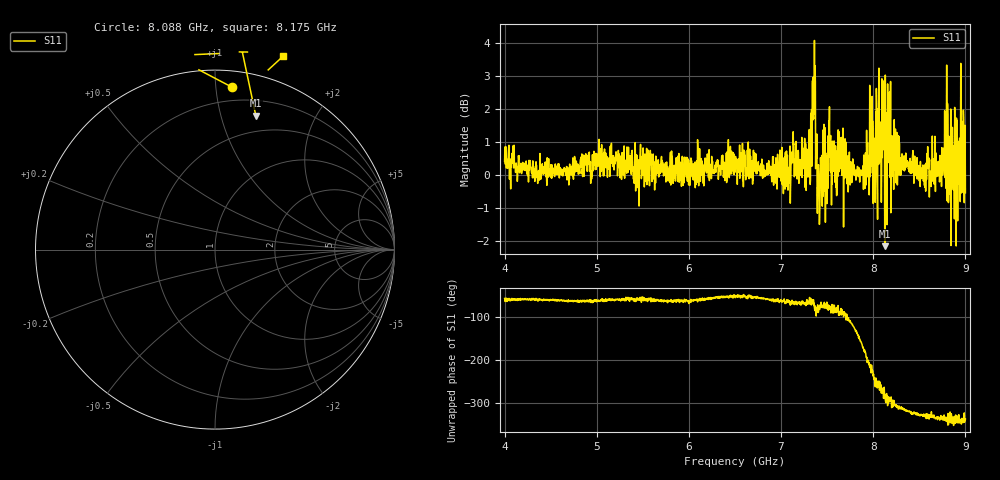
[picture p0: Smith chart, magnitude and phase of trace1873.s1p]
! Created with skrf 1.8.0 (http://scikit-rf.org).
# Hz S RI R 50.0
!freq ReS11 ImS11
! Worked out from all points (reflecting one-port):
!   1601 points, 4 GHz to 9 GHz, reference 50 ohm
!   lowest |S11| = -2.2 dB at 8.125 GHz (marker M1), VSWR 8.12, Z = 16.9 + j64.7 ohm
!   phase of S11 starts at -56 deg and turns -281 deg over the sweep
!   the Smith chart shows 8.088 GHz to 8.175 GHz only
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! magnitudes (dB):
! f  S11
! 4 GHz  0.4
! 4.625 GHz  0.0
! 5.25 GHz  0.2
! 5.875 GHz  0.4
! 6.5 GHz  0.1
! 7.125 GHz  0.4
! 7.294 GHz  0.5
! 7.347 GHz  3.0
! 7.366 GHz  1.9
! 7.4 GHz  -0.6
! 7.416 GHz  -1.5
! 7.538 GHz  1.2
! 7.75 GHz  -0.3
! 7.9 GHz  -0.1
! 7.969 GHz  1.8
! 8.022 GHz  -0.8
! 8.053 GHz  0.7
! 8.066 GHz  0.4
! 8.094 GHz  2.9
! 8.125 GHz  -2.2
! 8.162 GHz  1.4
! 8.216 GHz  0.5
! 8.375 GHz  0.3
! 8.697 GHz  0.3
! 8.788 GHz  -0.4
! 8.856 GHz  0.2
! 8.959 GHz  1.6
! 9 GHz  -0.5
